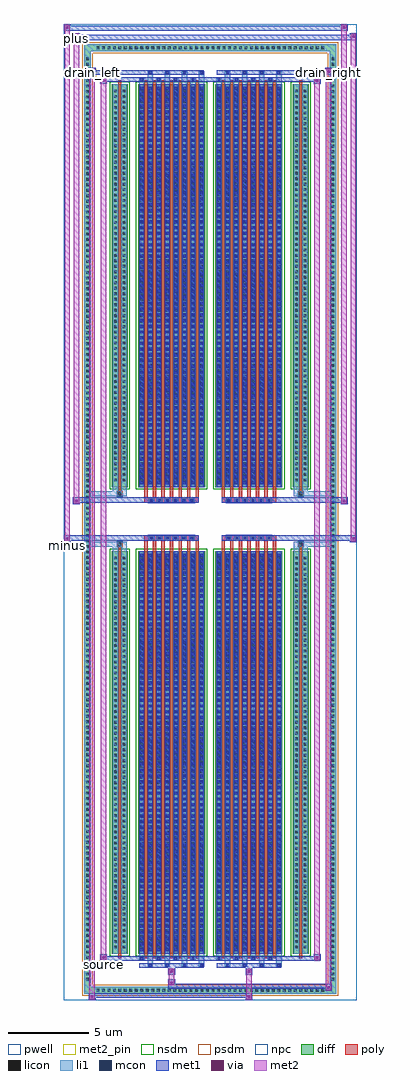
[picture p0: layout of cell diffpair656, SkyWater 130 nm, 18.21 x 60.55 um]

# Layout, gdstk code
import gdstk
lib = gdstk.Library(unit=1e-6, precision=5e-09)
def R(c, l, rs):  # rectangles x0, y0, x1, y1
    for r in rs: c.add(gdstk.rectangle(r[:2], r[2:], *l))
def A(c, l, x, y, w, h, nx, ny, dx, dy):  # array of equal rectangles
    R(c, l, [(x+i*dx, y+j*dy, x+i*dx+w, y+j*dy+h) for i in range(nx) for j in range(ny)])
def P(c, l, *ps):  # polygons
    for p in ps: c.add(gdstk.Polygon(p, *l))
pwell = (64, 44)
diff = (65, 20)
poly = (66, 20)
licon = (66, 44)
li1 = (67, 20)
mcon = (67, 44)
met1 = (68, 20)
via = (68, 44)
met2_pin = (69, 16)
met2 = (69, 20)
nsdm = (93, 44)
psdm = (94, 20)
npc = (95, 20)

diffpair656 = lib.new_cell('diffpair656')
R(diffpair656, pwell, [(-9.09,-29.84,9.09,30.71), (-6.41,-28.03,-0.01,-0.805), (0.01,-28.03,6.41,-0.805), (-6.41,0.805,-0.01,28.03), (0.01,0.805,6.41,28.03)])
A(diffpair656, diff, -7.175, -29.44, 0.41, 0.41, 42, 2, 0.34, 58.47)
A(diffpair656, diff, -7.82, -28.765, 0.41, 0.41, 1, 169, 0, 0.34)
A(diffpair656, diff, 7.41, -28.765, 0.41, 0.41, 1, 169, 0, 0.34)
R(diffpair656, diff, [(-7.175,-29.44,7.175,-29.03), (-7.82,-28.765,-7.41,28.765), (7.41,-28.765,7.82,28.765), (-6.1,-26.985,-5.12,-1.985), (-4.48,-26.985,-0.32,-1.985), (0.32,-26.985,4.48,-1.985), (5.12,-26.985,6.1,-1.985), (-6.1,1.985,-5.12,26.985), (-4.48,1.985,-0.32,26.985), (0.32,1.985,4.48,26.985), (5.12,1.985,6.1,26.985), (-7.175,29.03,7.175,29.44)])
P(diffpair656, diff, [(7.82,29.44),(-7.82,29.44),(-7.82,-29.03),(-7.41,-29.03),(-7.41,29.03),(7.41,29.03),(7.41,-29.03),(-7.41,-29.03),(-7.82,-29.03),(-7.82,-29.44),(7.82,-29.44)])
A(diffpair656, poly, -4.09, -27.235, 0.2, 25.5, 7, 2, 0.53, 28.97)
A(diffpair656, poly, 0.71, -27.235, 0.2, 25.5, 7, 2, 0.53, 28.97)
A(diffpair656, poly, -4.09, -1.735, 0.2, 0.4, 7, 2, 0.53, 3.07)
A(diffpair656, poly, 0.71, -1.735, 0.2, 0.4, 7, 2, 0.53, 3.07)
A(diffpair656, poly, -3.815, -1.335, 0.33, 0.33, 6, 2, 0.5, 2.34)
A(diffpair656, poly, 0.985, -1.335, 0.33, 0.33, 6, 2, 0.5, 2.34)
R(diffpair656, poly, [(-5.71,-27.235,-5.51,-1.735), (5.51,-27.235,5.71,-1.735), (-5.775,-1.735,-5.445,-1.405), (-5.775,-1.735,-5.445,-1.405), (5.445,-1.735,5.775,-1.405), (5.445,-1.735,5.775,-1.405), (-4.09,-1.335,-0.71,-1.005), (0.71,-1.335,4.09,-1.005), (-4.09,1.005,-0.71,1.335), (0.71,1.005,4.09,1.335), (-5.775,1.405,-5.445,1.735), (-5.775,1.405,-5.445,1.735), (5.445,1.405,5.775,1.735), (5.445,1.405,5.775,1.735), (-5.71,1.735,-5.51,27.235), (5.51,1.735,5.71,27.235)])
A(diffpair656, licon, -7.055, -29.32, 0.17, 0.17, 42, 2, 0.34, 58.47)
A(diffpair656, licon, -7.7, -28.645, 0.17, 0.17, 1, 169, 0, 0.34)
A(diffpair656, licon, 7.53, -28.645, 0.17, 0.17, 1, 169, 0, 0.34)
A(diffpair656, licon, -5.96, -26.64, 0.17, 0.17, 1, 72, 0, 0.34)
A(diffpair656, licon, -5.43, -26.64, 0.17, 0.17, 1, 72, 0, 0.34)
A(diffpair656, licon, -4.34, -26.64, 0.17, 0.17, 8, 72, 0.53, 0.34)
A(diffpair656, licon, 0.46, -26.64, 0.17, 0.17, 8, 72, 0.53, 0.34)
A(diffpair656, licon, 5.26, -26.64, 0.17, 0.17, 1, 72, 0, 0.34)
A(diffpair656, licon, 5.79, -26.64, 0.17, 0.17, 1, 72, 0, 0.34)
A(diffpair656, licon, -3.735, -1.255, 0.17, 0.17, 6, 2, 0.5, 2.34)
A(diffpair656, licon, 1.065, -1.255, 0.17, 0.17, 6, 2, 0.5, 2.34)
A(diffpair656, licon, -5.96, 2.33, 0.17, 0.17, 1, 72, 0, 0.34)
A(diffpair656, licon, -5.43, 2.33, 0.17, 0.17, 1, 72, 0, 0.34)
A(diffpair656, licon, -4.34, 2.33, 0.17, 0.17, 8, 72, 0.53, 0.34)
A(diffpair656, licon, 0.46, 2.33, 0.17, 0.17, 8, 72, 0.53, 0.34)
A(diffpair656, licon, 5.26, 2.33, 0.17, 0.17, 1, 72, 0, 0.34)
A(diffpair656, licon, 5.79, 2.33, 0.17, 0.17, 1, 72, 0, 0.34)
R(diffpair656, licon, [(-5.695,-1.655,-5.525,-1.485), (5.525,-1.655,5.695,-1.485), (-5.695,1.485,-5.525,1.655), (5.525,1.485,5.695,1.655)])
A(diffpair656, li1, -7.135, -29.4, 0.33, 0.33, 42, 2, 0.34, 58.47)
A(diffpair656, li1, -7.78, -28.725, 0.33, 0.33, 1, 169, 0, 0.34)
A(diffpair656, li1, 7.45, -28.725, 0.33, 0.33, 1, 169, 0, 0.34)
A(diffpair656, li1, -3.89, -27.79, 0.33, 0.805, 4, 2, 1.06, 54.775)
A(diffpair656, li1, -3.81, -27.79, 0.17, 0.17, 4, 2, 1.06, 55.41)
A(diffpair656, li1, 0.91, -27.79, 0.33, 0.805, 4, 2, 1.06, 54.775)
A(diffpair656, li1, 0.99, -27.79, 0.17, 0.17, 4, 2, 1.06, 55.41)
A(diffpair656, li1, -4.42, -27.36, 0.33, 0.375, 4, 2, 1.06, 54.345)
A(diffpair656, li1, -4.34, -27.36, 0.17, 0.17, 4, 2, 1.06, 54.55)
A(diffpair656, li1, 0.38, -27.36, 0.33, 0.375, 4, 2, 1.06, 54.345)
A(diffpair656, li1, 0.46, -27.36, 0.17, 0.17, 4, 2, 1.06, 54.55)
A(diffpair656, li1, -4.42, -26.985, 0.33, 25, 8, 2, 0.53, 28.97)
A(diffpair656, li1, 0.38, -26.985, 0.33, 25, 8, 2, 0.53, 28.97)
A(diffpair656, li1, -4.34, -26.81, 0.17, 0.17, 8, 69, 0.53, 0.36)
A(diffpair656, li1, -4.34, -26.81, 0.17, 24.65, 8, 2, 0.53, 28.97)
A(diffpair656, li1, 0.46, -26.81, 0.17, 0.17, 8, 69, 0.53, 0.36)
A(diffpair656, li1, 0.46, -26.81, 0.17, 24.65, 8, 2, 0.53, 28.97)
A(diffpair656, li1, -6.04, -26.72, 0.33, 0.33, 1, 72, 0, 0.34)
A(diffpair656, li1, -5.51, -26.72, 0.33, 0.33, 1, 72, 0, 0.34)
A(diffpair656, li1, -4.42, -26.72, 0.33, 0.33, 8, 72, 0.53, 0.34)
A(diffpair656, li1, 0.38, -26.72, 0.33, 0.33, 8, 72, 0.53, 0.34)
A(diffpair656, li1, 5.18, -26.72, 0.33, 0.33, 1, 72, 0, 0.34)
A(diffpair656, li1, 5.71, -26.72, 0.33, 0.33, 1, 72, 0, 0.34)
A(diffpair656, li1, -3.815, -1.335, 0.33, 0.33, 6, 2, 0.5, 2.34)
A(diffpair656, li1, 0.985, -1.335, 0.33, 0.33, 6, 2, 0.5, 2.34)
A(diffpair656, li1, -4.34, 2.16, 0.17, 0.17, 8, 69, 0.53, 0.36)
A(diffpair656, li1, 0.46, 2.16, 0.17, 0.17, 8, 69, 0.53, 0.36)
A(diffpair656, li1, -6.04, 2.25, 0.33, 0.33, 1, 72, 0, 0.34)
A(diffpair656, li1, -5.51, 2.25, 0.33, 0.33, 1, 72, 0, 0.34)
A(diffpair656, li1, -4.42, 2.25, 0.33, 0.33, 8, 72, 0.53, 0.34)
A(diffpair656, li1, 0.38, 2.25, 0.33, 0.33, 8, 72, 0.53, 0.34)
A(diffpair656, li1, 5.18, 2.25, 0.33, 0.33, 1, 72, 0, 0.34)
A(diffpair656, li1, 5.71, 2.25, 0.33, 0.33, 1, 72, 0, 0.34)
R(diffpair656, li1, [(-7.82,-29.44,-7.41,-29.03), (-7.82,-29.44,-7.41,-29.03), (-7.41,-29.44,7.41,-29.03), (7.41,-29.44,7.82,-29.03), (7.41,-29.44,7.82,-29.03), (-7.82,-29.03,-7.41,29.03), (7.41,-29.03,7.82,29.03), (-6.04,-26.985,-5.71,-1.985), (-5.51,-26.985,-5.18,-1.985), (5.18,-26.985,5.51,-1.985), (5.71,-26.985,6.04,-1.985), (-6.04,-1.985,-5.71,-1.405), (-5.51,-1.985,-5.18,-1.405), (5.18,-1.985,5.51,-1.405), (5.71,-1.985,6.04,-1.405), (-7.82,-1.735,-5.775,-1.405), (-6.04,-1.735,-5.775,-1.405), (-5.775,-1.735,-5.445,-1.405), (-5.445,-1.735,-5.18,-1.405), (5.18,-1.735,5.445,-1.405), (5.445,-1.735,5.775,-1.405), (5.445,-1.735,7.82,-1.405), (5.775,-1.735,6.04,-1.405), (-7.82,1.405,-5.775,1.735), (-6.04,1.405,-5.775,1.735), (-6.04,1.405,-5.71,1.985), (-5.775,1.405,-5.445,1.735), (-5.51,1.405,-5.18,1.985), (-5.445,1.405,-5.18,1.735), (5.18,1.405,5.445,1.735), (5.18,1.405,5.51,1.985), (5.445,1.405,5.775,1.735), (5.445,1.405,7.82,1.735), (5.71,1.405,6.04,1.985), (5.775,1.405,6.04,1.735), (-6.04,1.985,-5.71,26.985), (-5.51,1.985,-5.18,26.985), (5.18,1.985,5.51,26.985), (5.71,1.985,6.04,26.985), (-7.82,29.03,-7.41,29.44), (-7.82,29.03,-7.41,29.44), (-7.41,29.03,7.41,29.44), (7.41,29.03,7.82,29.44), (7.41,29.03,7.82,29.44)])
A(diffpair656, mcon, -3.81, -27.79, 0.17, 0.17, 4, 2, 1.06, 55.41)
A(diffpair656, mcon, 0.99, -27.79, 0.17, 0.17, 4, 2, 1.06, 55.41)
A(diffpair656, mcon, -4.34, -27.36, 0.17, 0.17, 4, 2, 1.06, 54.55)
A(diffpair656, mcon, 0.46, -27.36, 0.17, 0.17, 4, 2, 1.06, 54.55)
A(diffpair656, mcon, -4.34, -26.81, 0.17, 0.17, 8, 69, 0.53, 0.36)
A(diffpair656, mcon, 0.46, -26.81, 0.17, 0.17, 8, 69, 0.53, 0.36)
A(diffpair656, mcon, -3.735, -1.255, 0.17, 0.17, 6, 2, 0.5, 2.34)
A(diffpair656, mcon, 1.065, -1.255, 0.17, 0.17, 6, 2, 0.5, 2.34)
A(diffpair656, mcon, -4.34, 2.16, 0.17, 0.17, 8, 69, 0.53, 0.36)
A(diffpair656, mcon, 0.46, 2.16, 0.17, 0.17, 8, 69, 0.53, 0.36)
A(diffpair656, met1, -3.87, -27.85, 0.29, 0.29, 4, 2, 1.06, 55.41)
A(diffpair656, met1, 0.93, -27.85, 0.29, 0.29, 4, 2, 1.06, 55.41)
A(diffpair656, met1, -4.4, -27.42, 0.29, 0.29, 4, 2, 1.06, 54.55)
A(diffpair656, met1, 0.4, -27.42, 0.29, 0.29, 4, 2, 1.06, 54.55)
A(diffpair656, met1, -4.4, -26.985, 0.29, 25, 8, 2, 0.53, 28.97)
A(diffpair656, met1, 0.4, -26.985, 0.29, 25, 8, 2, 0.53, 28.97)
A(diffpair656, met1, -4.4, -26.87, 0.29, 0.29, 8, 69, 0.53, 0.36)
A(diffpair656, met1, 0.4, -26.87, 0.29, 0.29, 8, 69, 0.53, 0.36)
A(diffpair656, met1, -3.795, -1.315, 0.29, 0.29, 6, 2, 0.5, 2.34)
A(diffpair656, met1, 1.005, -1.315, 0.29, 0.29, 6, 2, 0.5, 2.34)
A(diffpair656, met1, -4.4, 2.1, 0.29, 0.29, 8, 69, 0.53, 0.36)
A(diffpair656, met1, 0.4, 2.1, 0.29, 0.29, 8, 69, 0.53, 0.36)
R(diffpair656, met1, [(-7.55,-29.84,-7.12,-29.41), (2.185,-29.84,2.615,-29.41), (-7.55,-29.7,2.615,-29.41), (7.12,-29.27,7.55,-28.84), (-2.615,-29.13,7.55,-28.84), (-2.615,-28.99,-2.185,-28.56), (-2.615,-28.28,-2.185,-27.85), (2.185,-28.28,2.615,-27.85), (-4.4,-27.85,-0.4,-27.56), (0.4,-27.85,4.4,-27.56), (-6.84,-27.42,-6.41,-26.99), (-6.84,-27.42,-4.4,-27.13), (-4.4,-27.42,-0.4,-27.13), (-0.4,-27.42,0.4,-27.13), (0.4,-27.42,4.4,-27.13), (4.4,-27.42,6.84,-27.13), (6.41,-27.42,6.84,-26.99), (-9.09,-1.435,-8.66,-1.005), (8.66,-1.435,9.09,-1.005), (-9.09,-1.335,-0.71,-1.005), (-4.09,-1.335,-0.71,-1.005), (0.71,-1.335,4.09,-1.005), (0.71,-1.335,9.09,-1.005), (-8.52,0.905,-8.09,1.335), (8.09,0.905,8.52,1.335), (-8.52,1.005,-4.09,1.335), (-4.09,1.005,-0.71,1.335), (0.71,1.005,4.09,1.335), (4.09,1.005,8.52,1.335), (-6.84,26.99,-6.41,27.42), (6.41,26.99,6.84,27.42), (-6.84,27.13,-4.4,27.42), (-4.4,27.13,-0.4,27.42), (-0.4,27.13,0.4,27.42), (0.4,27.13,4.4,27.42), (4.4,27.13,6.84,27.42), (-7.55,27.56,-7.12,27.99), (-7.55,27.56,-4.4,27.85), (-4.4,27.56,-0.4,27.85), (0.4,27.56,4.4,27.85), (4.4,27.56,7.55,27.85), (7.12,27.56,7.55,27.99), (-8.52,29.71,-8.09,30.14), (-8.52,29.71,-6.41,30.04), (-6.41,29.71,6.41,30.04), (6.41,29.71,9.09,30.04), (8.66,29.71,9.09,30.14), (-9.09,30.28,-8.66,30.71), (-9.09,30.28,-6.41,30.61), (-6.41,30.28,6.41,30.61), (6.41,30.28,8.52,30.61), (8.09,30.28,8.52,30.71)])
R(diffpair656, via, [(-7.41,-29.7,-7.26,-29.55), (2.325,-29.7,2.475,-29.55), (7.26,-29.13,7.41,-28.98), (-2.475,-28.85,-2.325,-28.7), (-2.475,-28.14,-2.325,-27.99), (2.325,-28.14,2.475,-27.99), (-6.7,-27.28,-6.55,-27.13), (6.55,-27.28,6.7,-27.13), (-8.95,-1.295,-8.8,-1.145), (8.8,-1.295,8.95,-1.145), (-8.38,1.045,-8.23,1.195), (8.23,1.045,8.38,1.195), (-6.7,27.13,-6.55,27.28), (6.55,27.13,6.7,27.28), (-7.41,27.7,-7.26,27.85), (7.26,27.7,7.41,27.85), (-8.38,29.85,-8.23,30), (8.8,29.85,8.95,30), (-8.95,30.42,-8.8,30.57), (8.23,30.42,8.38,30.57)])
R(diffpair656, met2_pin, [(-6.875,-27.87,-6.375,-27.37), (-9.125,-1.885,-8.625,-1.385), (-7.585,27.44,-7.085,27.94), (7.085,27.44,7.585,27.94), (-8.555,29.59,-8.055,30.09)])
R(diffpair656, met2, [(-7.5,-29.79,-7.17,-29.46), (-7.5,-29.79,-7.17,27.94), (2.235,-29.79,2.565,-29.46), (2.235,-29.46,2.565,-28.23), (7.17,-29.22,7.5,-28.89), (7.17,-29.22,7.5,27.94), (-2.565,-28.94,-2.235,-28.61), (-2.565,-28.61,-2.235,-28.23), (-2.565,-28.23,-2.235,-27.9), (2.235,-28.23,2.565,-27.9), (-6.79,-27.37,-6.46,-27.04), (-6.79,-27.37,-6.46,27.37), (6.46,-27.37,6.79,-27.04), (6.46,-27.37,6.79,27.37), (-9.04,-1.385,-8.71,-1.055), (-9.04,-1.385,-8.71,30.66), (8.71,-1.385,9.04,-1.055), (8.71,-1.385,9.04,30.09), (-8.47,0.955,-8.14,1.285), (-8.47,0.955,-8.14,30.09), (8.14,0.955,8.47,1.285), (8.14,0.955,8.47,30.66), (-6.79,27.04,-6.46,27.37), (6.46,27.04,6.79,27.37), (-7.5,27.61,-7.17,27.94), (7.17,27.61,7.5,27.94), (-8.47,29.76,-8.14,30.09), (8.71,29.76,9.04,30.09), (-9.04,30.33,-8.71,30.66), (8.14,30.33,8.47,30.66)])
P(diffpair656, met2, [(9.04,-1.385),(9.04,-1.385),(9.04,-1.055),(9.04,-1.055)],
  [(9.04,29.76),(9.04,29.76),(9.04,30.09),(9.04,30.09)],
  [(-8.71,-1.385),(-8.71,-1.385),(-8.71,-1.055),(-8.71,-1.055)],
  [(-8.71,30.33),(-8.71,30.33),(-8.71,30.66),(-8.71,30.66)],
  [(8.47,0.955),(8.47,0.955),(8.47,1.285),(8.47,1.285)],
  [(8.47,30.33),(8.47,30.33),(8.47,30.66),(8.47,30.66)],
  [(-8.14,0.955),(-8.14,0.955),(-8.14,1.285),(-8.14,1.285)],
  [(-8.14,29.76),(-8.14,29.76),(-8.14,30.09),(-8.14,30.09)],
  [(-7.17,-29.79),(-7.17,-29.79),(-7.17,-29.46),(-7.17,-29.46)],
  [(-7.17,27.61),(-7.17,27.61),(-7.17,27.94),(-7.17,27.94)],
  [(7.5,-29.22),(7.5,-29.22),(7.5,-28.89),(7.5,-28.89)],
  [(7.5,27.61),(7.5,27.61),(7.5,27.94),(7.5,27.94)],
  [(-6.46,-27.37),(-6.46,-27.37),(-6.46,-27.04),(-6.46,-27.04)],
  [(-6.46,27.04),(-6.46,27.04),(-6.46,27.37),(-6.46,27.37)],
  [(6.79,-27.37),(6.79,-27.37),(6.79,-27.04),(6.79,-27.04)],
  [(6.79,27.04),(6.79,27.04),(6.79,27.37),(6.79,27.37)])
R(diffpair656, nsdm, [(-6.23,-27.115,-4.99,-1.855), (-4.61,-27.115,-0.19,-1.855), (0.19,-27.115,4.61,-1.855), (4.99,-27.115,6.23,-1.855), (-6.23,1.855,-4.99,27.115), (-4.61,1.855,-0.19,27.115), (0.19,1.855,4.61,27.115), (4.99,1.855,6.23,27.115)])
P(diffpair656, psdm, [(7.95,29.57),(-7.95,29.57),(-7.95,-28.9),(-7.28,-28.9),(-7.28,28.9),(7.28,28.9),(7.28,-28.9),(-7.28,-28.9),(-7.95,-28.9),(-7.95,-29.57),(7.95,-29.57)])
A(diffpair656, npc, -3.835, -1.355, 0.37, 0.37, 6, 2, 0.5, 2.34)
A(diffpair656, npc, 0.965, -1.355, 0.37, 0.37, 6, 2, 0.5, 2.34)
R(diffpair656, npc, [(-5.795,-1.755,-5.425,-1.385), (5.425,-1.755,5.795,-1.385), (-3.835,-1.355,-2.965,-0.985), (-3.835,-1.355,-2.965,-0.985), (-3.335,-1.355,-2.465,-0.985), (-3.335,-1.355,-2.465,-0.985), (-2.835,-1.355,-1.965,-0.985), (-2.835,-1.355,-1.965,-0.985), (-2.335,-1.355,-1.465,-0.985), (-2.335,-1.355,-1.465,-0.985), (-1.835,-1.355,-0.965,-0.985), (-1.835,-1.355,-0.965,-0.985), (0.965,-1.355,1.835,-0.985), (0.965,-1.355,1.835,-0.985), (1.465,-1.355,2.335,-0.985), (1.465,-1.355,2.335,-0.985), (1.965,-1.355,2.835,-0.985), (1.965,-1.355,2.835,-0.985), (2.465,-1.355,3.335,-0.985), (2.465,-1.355,3.335,-0.985), (2.965,-1.355,3.835,-0.985), (2.965,-1.355,3.835,-0.985), (-3.835,0.985,-2.965,1.355), (-3.835,0.985,-2.965,1.355), (-3.335,0.985,-2.465,1.355), (-3.335,0.985,-2.465,1.355), (-2.835,0.985,-1.965,1.355), (-2.835,0.985,-1.965,1.355), (-2.335,0.985,-1.465,1.355), (-2.335,0.985,-1.465,1.355), (-1.835,0.985,-0.965,1.355), (-1.835,0.985,-0.965,1.355), (0.965,0.985,1.835,1.355), (0.965,0.985,1.835,1.355), (1.465,0.985,2.335,1.355), (1.465,0.985,2.335,1.355), (1.965,0.985,2.835,1.355), (1.965,0.985,2.835,1.355), (2.465,0.985,3.335,1.355), (2.465,0.985,3.335,1.355), (2.965,0.985,3.835,1.355), (2.965,0.985,3.835,1.355), (-5.795,1.385,-5.425,1.755), (5.425,1.385,5.795,1.755)])
diffpair656.add(gdstk.Label('minus', (-8.875,-1.635), layer=69, texttype=5))
diffpair656.add(gdstk.Label('drain_right', (7.335,27.69), layer=69, texttype=5))
diffpair656.add(gdstk.Label('drain_left', (-7.335,27.69), layer=69, texttype=5))
diffpair656.add(gdstk.Label('source', (-6.625,-27.62), layer=69, texttype=5))
diffpair656.add(gdstk.Label('plus', (-8.305,29.84), layer=69, texttype=5))

lib.write_gds('diffpair656.gds')
